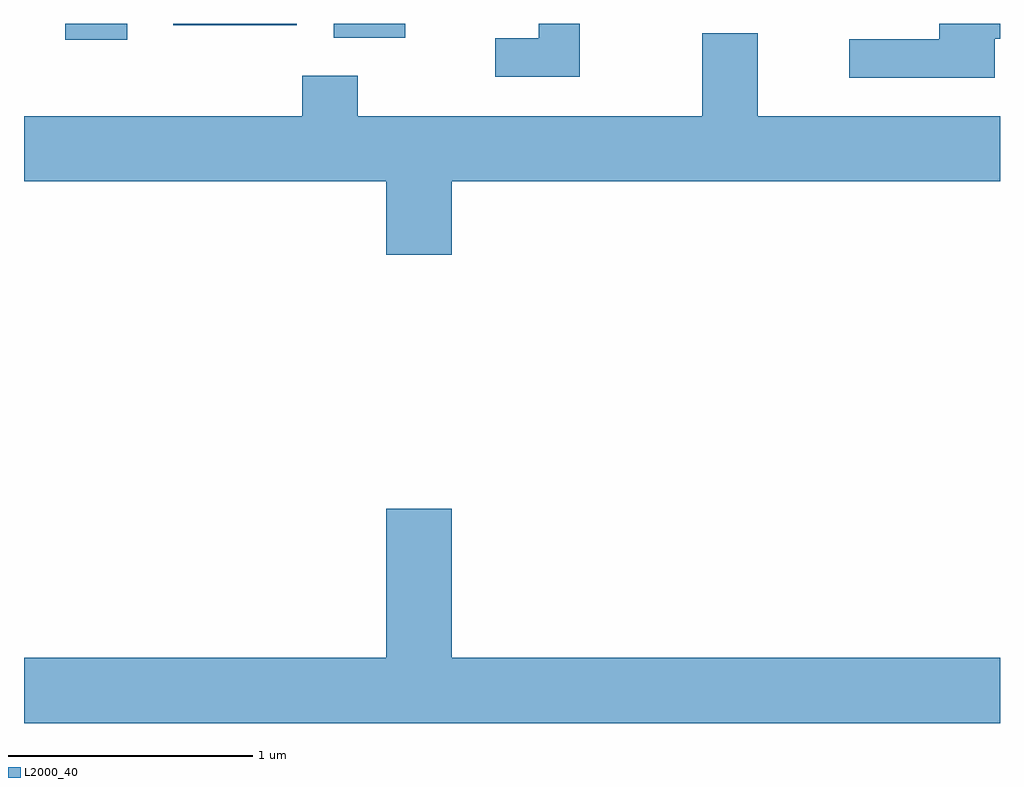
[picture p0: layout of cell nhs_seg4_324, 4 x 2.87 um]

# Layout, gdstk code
import gdstk
lib = gdstk.Library(unit=1e-6, precision=1e-09)
def R(c, l, rs):  # rectangles x0, y0, x1, y1
    for r in rs: c.add(gdstk.rectangle(r[:2], r[2:], *l))
def P(c, l, *ps):  # polygons
    for p in ps: c.add(gdstk.Polygon(p, *l))
L2000_40 = (2000, 40)

nhs_seg4_324 = lib.new_cell('nhs_seg4_324')
R(nhs_seg4_324, L2000_40, [(193.781,1361.916,194.034,1361.982), (194.881,1361.926,195.174,1361.982), (194.223,1361.976,194.729,1361.982)])
P(nhs_seg4_324, L2000_40, [(195.889,1361.982),(195.721,1361.982),(195.721,1361.924),(195.543,1361.924),(195.543,1361.766),(195.889,1361.766)],
  [(197.589,1361.921),(197.611,1361.921),(197.611,1361.982),(197.361,1361.982),(197.361,1361.919),(196.993,1361.919),(196.993,1361.761),(197.589,1361.761)],
  [(195.364,1361.336),(197.611,1361.336),(197.611,1361.604),(196.619,1361.604),(196.619,1361.944),(196.391,1361.944),(196.391,1361.604),(194.979,1361.604),(194.979,1361.769),(194.751,1361.769),(194.751,1361.604),(193.611,1361.604),(193.611,1361.336),(195.096,1361.336),(195.096,1361.036),(195.364,1361.036)],
  [(197.611,1359.384),(195.364,1359.384),(195.364,1359.994),(195.096,1359.994),(195.096,1359.384),(193.611,1359.384),(193.611,1359.116),(197.611,1359.116)])

lib.write_gds('nhs_seg4_324.gds')
